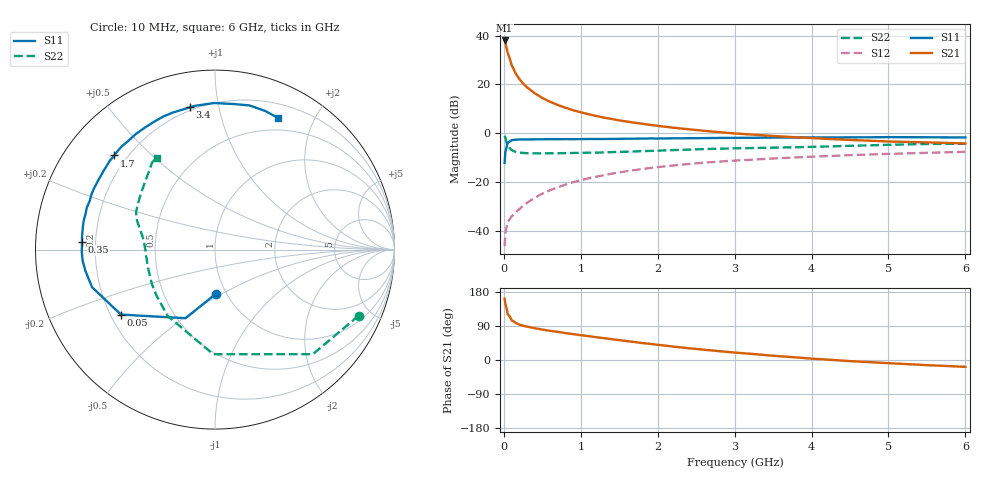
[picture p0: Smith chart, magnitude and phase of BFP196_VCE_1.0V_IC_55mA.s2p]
! Infineon Technologies  Discrete & RF Semiconductors
! BFP196
! VCE =  1.0 V,  IC =  55 mA
! Common Emitter S-Parameters:  Jan 2017
# GHz  S  MA  R  50
!  f  S11  S21  S12  S22
! GHz  MAG  ANG  MAG  ANG  MAG  ANG  MAG  ANG
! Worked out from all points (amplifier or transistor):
!   77 points, 10 MHz to 6 GHz, reference 50 ohm
!   highest |S21| = 38.0 dB at 10 MHz (marker M1)
!   |S21| within 3 dB of that: start of sweep to 34.95 MHz
!   unconditionally stable (mu >= 1): 394.1 MHz to 2.751 GHz
!   at 130 MHz: K = 0.70, MSG = 29.7 dB, |S12| = -33.2 dB
!   at 2.2 GHz: K = 1.02, MAG = 6.9 dB, |S12| = -13.3 dB
!   at 6 GHz: K = 0.99, MSG = 1.7 dB, |S12| = -7.7 dB
!   S11 on the Smith chart (normalised r, x): 10 MHz: 0.90, -0.47; 50 MHz: 0.24, -0.29; 350 MHz: 0.15, +0.03; 1.7 GHz: 0.15, +0.39; 3.4 GHz: 0.18, +0.82; 6 GHz: 0.35, +1.52
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0.01  0.2448 -88.5  79.33 162.1  0.0048 74.0  0.8811 -24.7
0.02  0.4159 -113.2  70.83 147.1  0.0087 65.6  0.7981 -46.9
0.05  0.637 -145.4  44.29 121.0  0.0148 48.8  0.5829 -91.0
0.1  0.7163 -163.0  25.02 105.0  0.0194 50.5  0.4538 -125.6
0.15  0.732 -170.8  17.1 98.2  0.0234 53.8  0.4142 -142.0
0.2  0.7398 -175.1  12.94 93.7  0.0274 58.2  0.4 -151.6
0.25  0.7425 -178.7  10.39 90.5  0.0324 60.5  0.3917 -157.7
0.3  0.7419 178.8  8.683 88.0  0.0369 62.6  0.3876 -162.2
0.35  0.7426 176.7  7.614 86.2  0.0418 64.4  0.3859 -165.2
0.4  0.7442 174.6  6.556 83.8  0.0467 65.8  0.3852 -168.2
0.5  0.7464 170.9  5.247 80.2  0.0571 66.3  0.3841 -172.2
0.6  0.7492 167.7  4.393 77.0  0.0675 66.5  0.3863 -175.4
0.8  0.7516 161.8  3.311 71.1  0.0877 65.9  0.3881 180.0
1.1  0.7556 153.2  2.439 63.0  0.118 62.7  0.3956 174.9
1.4  0.7599 145.0  1.948 55.0  0.1471 59.0  0.4072 170.7
1.7  0.7676 136.9  1.631 47.4  0.1745 54.7  0.4204 167.4
2.1  0.7767 126.7  1.348 37.9  0.2083 48.4  0.4422 163.1
3.1  0.7991 105.5  0.961 18.1  0.2781 33.9  0.4903 153.0
3.4  0.805 100.0  0.894 13.0  0.2954 30.1  0.4993 149.3
4.1  0.8158 88.9  0.776 2.4  0.3327 21.3  0.5267 140.0
5.1  0.8242 75.3  0.667 -9.4  0.3784 9.6  0.5793 128.7
6  0.8137 64.6  0.614 -18.1  0.4128 -0.3  0.6052 122.3
